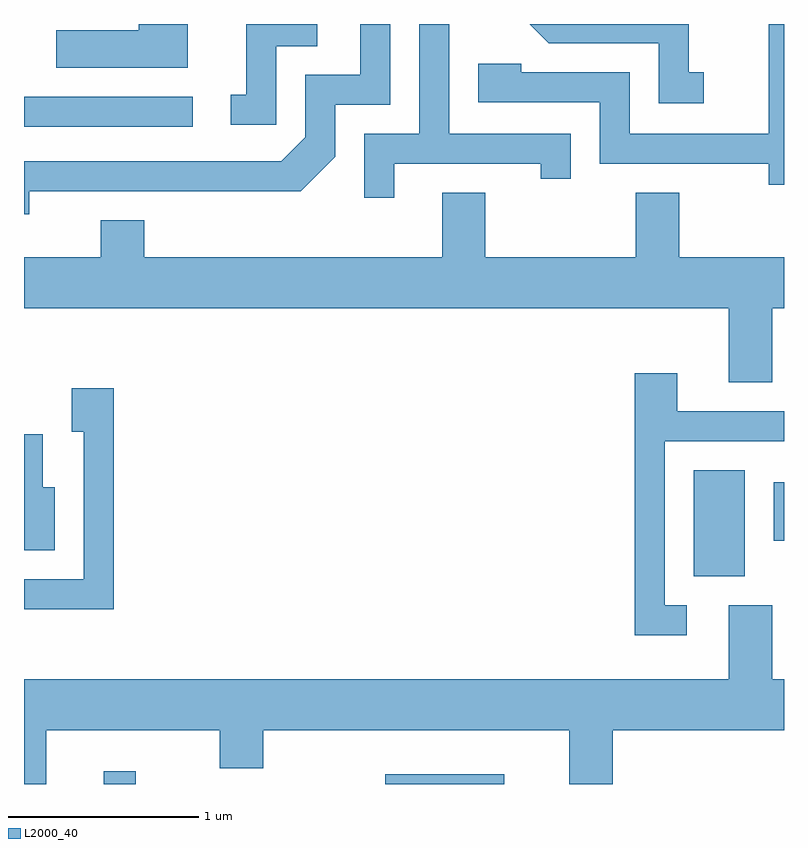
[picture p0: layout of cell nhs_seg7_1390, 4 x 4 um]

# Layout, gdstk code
import gdstk
lib = gdstk.Library(unit=1e-6, precision=1e-09)
def R(c, l, rs):  # rectangles x0, y0, x1, y1
    for r in rs: c.add(gdstk.rectangle(r[:2], r[2:], *l))
def P(c, l, *ps):  # polygons
    for p in ps: c.add(gdstk.Polygon(p, *l))
L2000_40 = (2000, 40)

nhs_seg7_1390 = lib.new_cell('nhs_seg7_1390')
R(nhs_seg7_1390, L2000_40, [(228.031,1716.252,228.199,1716.318), (229.511,1716.252,230.139,1716.304), (231.136,1717.346,231.404,1717.904), (231.556,1717.531,231.611,1717.839), (227.611,1719.711,228.498,1719.869)])
P(nhs_seg7_1390, L2000_40, [(228.474,1720.252),(228.216,1720.252),(228.216,1720.219),(227.781,1720.219),(227.781,1720.021),(228.474,1720.021)],
  [(229.559,1719.516),(230.331,1719.516),(230.331,1719.438),(230.489,1719.438),(230.489,1719.674),(229.849,1719.674),(229.849,1720.252),(229.691,1720.252),(229.691,1719.674),(229.401,1719.674),(229.401,1719.338),(229.559,1719.338)],
  [(231.188,1719.999),(231.109,1719.999),(231.109,1720.252),(230.273,1720.252),(230.374,1720.151),(230.951,1720.151),(230.951,1719.836),(231.188,1719.836)],
  [(228.939,1720.136),(229.154,1720.136),(229.154,1720.252),(228.781,1720.252),(228.781,1719.879),(228.698,1719.879),(228.698,1719.721),(228.939,1719.721)],
  [(227.639,1719.371),(229.067,1719.371),(229.249,1719.554),(229.249,1719.826),(229.539,1719.826),(229.539,1720.252),(229.381,1720.252),(229.381,1719.984),(229.091,1719.984),(229.091,1719.657),(228.964,1719.529),(227.611,1719.529),(227.611,1719.251),(227.639,1719.251)],
  [(231.611,1720.252),(231.531,1720.252),(231.531,1719.674),(230.799,1719.674),(230.799,1719.999),(230.229,1719.999),(230.229,1720.044),(230.001,1720.044),(230.001,1719.841),(230.641,1719.841),(230.641,1719.516),(231.531,1719.516),(231.531,1719.406),(231.611,1719.406)],
  [(231.549,1718.756),(231.611,1718.756),(231.611,1719.024),(231.059,1719.024),(231.059,1719.364),(230.831,1719.364),(230.831,1719.024),(230.039,1719.024),(230.039,1719.364),(229.811,1719.364),(229.811,1719.024),(228.244,1719.024),(228.244,1719.219),(228.016,1719.219),(228.016,1719.024),(227.611,1719.024),(227.611,1718.756),(231.321,1718.756),(231.321,1718.366),(231.549,1718.366)],
  [(231.098,1717.194),(230.984,1717.194),(230.984,1718.056),(231.611,1718.056),(231.611,1718.214),(231.049,1718.214),(231.049,1718.414),(230.826,1718.414),(230.826,1717.036),(231.098,1717.036)],
  [(228.084,1718.334),(227.861,1718.334),(227.861,1718.106),(227.926,1718.106),(227.926,1717.329),(227.611,1717.329),(227.611,1717.171),(228.084,1717.171)],
  [(227.774,1717.814),(227.709,1717.814),(227.709,1718.094),(227.611,1718.094),(227.611,1717.481),(227.774,1717.481)],
  [(227.729,1716.536),(228.641,1716.536),(228.641,1716.336),(228.869,1716.336),(228.869,1716.536),(230.481,1716.536),(230.481,1716.252),(230.709,1716.252),(230.709,1716.536),(231.611,1716.536),(231.611,1716.804),(231.549,1716.804),(231.549,1717.194),(231.321,1717.194),(231.321,1716.804),(227.611,1716.804),(227.611,1716.252),(227.729,1716.252)])

lib.write_gds('nhs_seg7_1390.gds')
